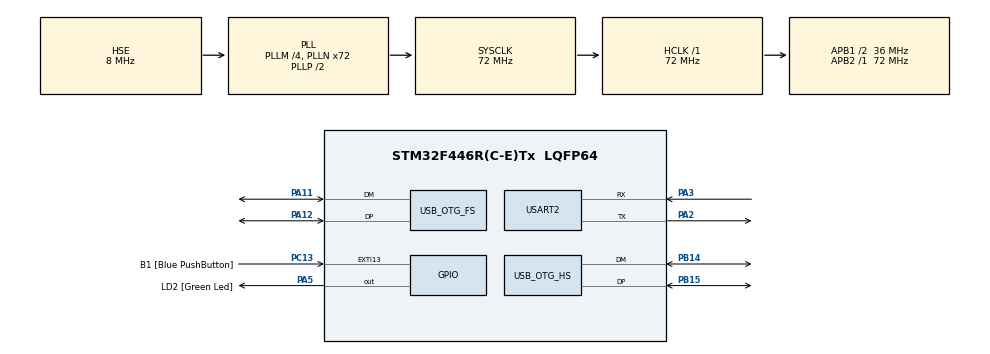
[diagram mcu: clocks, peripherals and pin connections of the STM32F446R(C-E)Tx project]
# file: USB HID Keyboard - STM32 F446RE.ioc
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Mcu.Family=STM32F4
Mcu.Name=STM32F446R(C-E)Tx
Mcu.Package=LQFP64
NVIC.EXTI15_10_IRQn=true\:0\:0\:false\:false\:true\:true\:true\:true
NVIC.OTG_FS_IRQn=true\:0\:0\:false\:false\:true\:false\:true\:true
NVIC.OTG_HS_IRQn=true\:0\:0\:false\:false\:true\:false\:true\:true
NVIC.PriorityGroup=NVIC_PRIORITYGROUP_0
PA11.Mode=Device_Only
PA11.Signal=USB_OTG_FS_DM
PA12.Mode=Device_Only
PA12.Signal=USB_OTG_FS_DP
PA13.GPIO_Label=TMS
PA13.Mode=Serial_Wire
PA13.Signal=SYS_JTMS-SWDIO
PA14.GPIO_Label=TCK
PA14.Mode=Serial_Wire
PA14.Signal=SYS_JTCK-SWCLK
PA2.Mode=Asynchronous
PA2.Signal=USART2_TX
PA3.Mode=Asynchronous
PA3.Signal=USART2_RX
PA5.GPIO_Label=LD2 [Green Led]
PA5.Signal=GPIO_Output
PB14.Mode=Host_FS
PB14.Signal=USB_OTG_HS_DM
PB15.Mode=Host_FS
PB15.Signal=USB_OTG_HS_DP
PB3.GPIO_Label=SWO
PB3.Signal=SYS_JTDO-SWO
PC13.GPIO_Label=B1 [Blue PushButton]
PC13.GPIO_ModeDefaultEXTI=GPIO_MODE_IT_FALLING
PC13.Signal=GPXTI13
PC14-OSC32_IN.Mode=LSE-External-Oscillator
PC14-OSC32_IN.Signal=RCC_OSC32_IN
PC15-OSC32_OUT.Mode=LSE-External-Oscillator
PC15-OSC32_OUT.Signal=RCC_OSC32_OUT
PH0-OSC_IN.Mode=HSE-External-Oscillator
PH0-OSC_IN.Signal=RCC_OSC_IN
PH1-OSC_OUT.Mode=HSE-External-Oscillator
PH1-OSC_OUT.Signal=RCC_OSC_OUT
ProjectManager.HeapSize=0x200
ProjectManager.StackSize=0x400
ProjectManager.TargetToolchain=STM32CubeIDE
RCC.48MHZClocksFreq_Value=84000000
RCC.AHBFreq_Value=72000000
RCC.APB1CLKDivider=RCC_HCLK_DIV2
RCC.APB1Freq_Value=36000000
RCC.APB1TimFreq_Value=72000000
RCC.APB2Freq_Value=72000000
RCC.APB2TimFreq_Value=72000000
RCC.CortexFreq_Value=72000000
RCC.FLatency-AdvancedSettings=FLASH_LATENCY_2
RCC.HCLKFreq_Value=72000000
RCC.HSE_VALUE=8000000
RCC.HSI_VALUE=16000000
RCC.PLLM=4
RCC.PLLN=72
RCC.PLLQ=3
RCC.PLLSourceVirtual=RCC_PLLSOURCE_HSE
RCC.SYSCLKFreq_VALUE=72000000
RCC.SYSCLKSource=RCC_SYSCLKSOURCE_PLLCLK
RCC.USBFreq_Value=48000000
RCC.VCOOutputFreq_Value=144000000
USART2.VirtualMode=VM_ASYNC
USB_DEVICE.CLASS_NAME_FS=HID
USB_DEVICE.VirtualMode-HID_FS=Hid
USB_DEVICE.VirtualModeFS=Hid_FS
USB_HOST.BSP.number=1
USB_HOST.USBH_HandleTypeDef-HID_HS=hUsbHostHS
USB_HOST.USBH_MAX_NUM_INTERFACES-HID_HS=2
USB_HOST.VirtualModeHS=Hid
USB_HOST0.BSP.STBoard=false
USB_HOST0.BSP.api=Unknown
USB_HOST0.BSP.instance=PA5
USB_HOST0.BSP.ip=GPIO
USB_HOST0.BSP.mode=Output
USB_HOST0.BSP.name=Drive_VBUS_HS
USB_HOST0.BSP.solution=PA5
USB_OTG_FS.VirtualMode=Device_Only
USB_OTG_HS.VirtualMode-Host_FS=Host_FS
VP_USB_DEVICE_VS_USB_DEVICE_HID_FS.Mode=HID_FS
VP_USB_HOST_VS_USB_HOST_HID_HS.Mode=HID_HS
board=NUCLEO-F446RE

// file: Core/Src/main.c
/* USER CODE BEGIN Header */
/**
 ******************************************************************************
 * @file           : main.c
 * @brief          : Main program body
 ******************************************************************************
 * @attention
 *
 * Copyright (c) 2023 STMicroelectronics.
 * All rights reserved.
 *
 * This software is licensed under terms that can be found in the LICENSE file
 * in the root directory of this software component.
 * If no LICENSE file comes with this software, it is provided AS-IS.
 *
 ******************************************************************************
 */
/* USER CODE END Header */
#include "main.h"
#include "usb_device.h"
#include "usb_host.h"

/* USER CODE BEGIN Includes */
#include "usbh_hid.h"
/* USER CODE END Includes */

/* USER CODE BEGIN PD */
#define KBD_LEFT_CTRL 0x01
#define KBD_LEFT_SHIFT 0x02
#define KBD_LEFT_ALT 0x04
#define KBD_LEFT_GUI 0x08
#define KBD_RIGHT_CTRL 0x10
#define KBD_RIGHT_SHIFT 0x20
#define KBD_RIGHT_ALT 0x40
#define KBD_RIGHT_GUI 0x80
/* USER CODE END PD */

UART_HandleTypeDef huart2;

/* USER CODE BEGIN PV */
extern USBD_HandleTypeDef hUsbDeviceFS;
char uart_buff[100];
uint8_t HID_Buffer[8] = {0x00, 0x00, 0x00, 0x00, 0x00, 0x00, 0x00, 0x00};
/* USER CODE END PV */

void SystemClock_Config(void);
static void MX_GPIO_Init(void);
static void MX_USART2_UART_Init(void);
void MX_USB_HOST_Process(void);

/* USER CODE BEGIN PFP */
void HAL_GPIO_EXTI_Callback(uint16_t GPIO_Pin);
void type_hello_world(void);
void send_key(uint8_t modifier, uint8_t key);
void emoji(char key);
/* USER CODE END PFP */

/* USER CODE BEGIN 0 */
void HAL_GPIO_EXTI_Callback(uint16_t GPIO_Pin)
{
	HAL_GPIO_TogglePin(LD2_GPIO_Port, LD2_Pin);
	int len = sprintf(uart_buff, "ISR callback.\r\n");
	HAL_UART_Transmit(&huart2, (uint8_t *)uart_buff, len, 100);
}

void USBH_HID_EventCallback(USBH_HandleTypeDef *phost)
{
	if (USBH_HID_GetDeviceType(phost) == HID_KEYBOARD) // if the HID is Keyboard
	{
		HID_KEYBD_Info_TypeDef *Keyboard_Info = USBH_HID_GetKeybdInfo(phost); // get the info
		uint8_t key = USBH_HID_GetASCIICode(Keyboard_Info);					  // get the key pressed
		int len = sprintf(uart_buff, "Key Pressed = %c\r\n", key);
		HAL_UART_Transmit(&huart2, (uint8_t *)uart_buff, len, 100);

		uint8_t modifier_keys = 0U;
		int lshift, rshift, lctrl, rctrl, lalt, ralt, lgui, rgui;
		if (Keyboard_Info->lshift == 1U)
		{
			modifier_keys |= KBD_LEFT_SHIFT;
			lshift = 1;
		}
		else
			lshift = 0;
		if (Keyboard_Info->rshift == 1U)
		{
			modifier_keys |= KBD_RIGHT_SHIFT;
			rshift = 1;
		}
		else
			rshift = 0;
		if (Keyboard_Info->lctrl == 1U)
		{
			modifier_keys |= KBD_LEFT_CTRL;
			lctrl = 1;
		}
		else
			lctrl = 0;
		if (Keyboard_Info->rctrl == 1U)
		{
			modifier_keys |= KBD_RIGHT_CTRL;
			rctrl = 1;
		}
		else
			rctrl = 0;
		if (Keyboard_Info->lalt == 1U)
		{
			modifier_keys |= KBD_LEFT_ALT;
			lalt = 1;
		}
		else
			lalt = 0;
		if (Keyboard_Info->ralt == 1U)
		{
			modifier_keys |= KBD_RIGHT_ALT;
			ralt = 1;
		}
		else
			ralt = 0;
		if (Keyboard_Info->lgui == 1U)
		{
			modifier_keys |= KBD_LEFT_GUI;
			lgui = 1;
		}
		else
			lgui = 0;
		if (Keyboard_Info->rgui == 1U)
		{
			modifier_keys |= KBD_RIGHT_GUI;
			rgui = 1;
		}
		else
			rgui = 0;
		if ((lctrl == 1 || rctrl == 1) && (lalt == 1 || ralt == 1) && ((key == 'h' || key == 'H') || (key == 'c' || key == 'C') || (key == 'q' || key == 'Q') ||  (key == 't' || key == 'T')))
		{
			if (key == 'h' || key == 'H')
				type_hello_world();
			else if ((key == 'c' || key == 'C'))
			{
				// char *command = "echo \"Hello World in command line!\"";
				// type_command(&command, 36);
			}
			else if ((key == 'q' || key == 'Q'))
			{
				emoji(key);
			}
			else if ((key == 't' || key == 'T'))
			{
				emoji(key);
			}
		}
		else
		{
			send_key(modifier_keys, Keyboard_Info->keys[0]);
		}
	}
}
void send_key(uint8_t modifier, uint8_t key)
{
	HID_Buffer[0] = modifier;
	HID_Buffer[2] = key;
	USBD_HID_SendReport(&hUsbDeviceFS, HID_Buffer, 8);
	HAL_Delay(100);

	// Release all keys
	HID_Buffer[0] = 0x00;
	HID_Buffer[2] = 0x00;
	USBD_HID_SendReport(&hUsbDeviceFS, HID_Buffer, 8);
	HAL_Delay(100);
}

void emoji(char key)
{
	send_key(0x08, 0x37);

	if (key == 'q')
	{
		send_key(0x00, 0x1a);
		send_key(0x00, 0x04);
		send_key(0x00, 0x19);
		send_key(0x00, 0x0c);
		send_key(0x00, 0x11);
		send_key(0x00, 0x0a);
		send_key(0x00, 0x2c);
		send_key(0x00, 0x0b);
		send_key(0x00, 0x04);
		send_key(0x00, 0x11);
		send_key(0x00, 0x07);
		HAL_Delay(100);
		send_key(0x00, 0x28);
		HAL_Delay(100);
		send_key(0x00, 0x29);
	}
	else if (key == 't')
	{
		send_key(0x00, 0x17);
		send_key(0x00, 0x0b);
		send_key(0x00, 0x18);
		send_key(0x00, 0x10);
		send_key(0x00, 0x05);
		send_key(0x00, 0x16);
		send_key(0x00, 0x2c);
		send_key(0x00, 0x18);
		send_key(0x00, 0x13);
		HAL_Delay(50);
		send_key(0x00, 0x28);
		HAL_Delay(50);
		send_key(0x00, 0x29);
	}

}

void type_hello_world(void)
{
	send_key(0x00, 0x0B);
	send_key(0x00, 0x08);
	send_key(0x00, 0x0f);
	send_key(0x00, 0x0f);
	send_key(0x00, 0x12);
	send_key(0x00, 0x2c);
	send_key(0x00, 0x1a);
	send_key(0x00, 0x12);
	send_key(0x00, 0x15);
	send_key(0x00, 0x0f);
	send_key(0x00, 0x07);
	send_key(0x00, 0x28);
}
/* USER CODE END 0 */

int main(void)
{

	/* MCU Configuration--------------------------------------------------------*/

	/* Reset of all peripherals, Initializes the Flash interface and the Systick. */
	HAL_Init();

	/* Configure the system clock */
	SystemClock_Config();

	/* Initialize all configured peripherals */
	MX_GPIO_Init();
	MX_USB_DEVICE_Init();
	MX_USB_HOST_Init();
	MX_USART2_UART_Init();

	/* Infinite loop */
	while (1)
	{
		MX_USB_HOST_Process();

		/* USER CODE BEGIN 3 */
		if (HAL_GPIO_ReadPin(B1_GPIO_Port, B1_Pin) == GPIO_PIN_RESET)
		{
			type_hello_world();
		}
	}
	/* USER CODE END 3 */
}

void SystemClock_Config(void)
{
	RCC_OscInitTypeDef RCC_OscInitStruct = {0};
	RCC_ClkInitTypeDef RCC_ClkInitStruct = {0};

	/** Configure the main internal regulator output voltage
	 */
	__HAL_RCC_PWR_CLK_ENABLE();
	__HAL_PWR_VOLTAGESCALING_CONFIG(PWR_REGULATOR_VOLTAGE_SCALE3);

	/** Initializes the RCC Oscillators according to the specified parameters
	 * in the RCC_OscInitTypeDef structure.
	 */
	RCC_OscInitStruct.OscillatorType = RCC_OSCILLATORTYPE_HSE;
	RCC_OscInitStruct.HSEState = RCC_HSE_ON;
	RCC_OscInitStruct.PLL.PLLState = RCC_PLL_ON;
	RCC_OscInitStruct.PLL.PLLSource = RCC_PLLSOURCE_HSE;
	RCC_OscInitStruct.PLL.PLLM = 4;
	RCC_OscInitStruct.PLL.PLLN = 72;
	RCC_OscInitStruct.PLL.PLLP = RCC_PLLP_DIV2;
	RCC_OscInitStruct.PLL.PLLQ = 3;
	RCC_OscInitStruct.PLL.PLLR = 2;
	if (HAL_RCC_OscConfig(&RCC_OscInitStruct) != HAL_OK)
	{
		Error_Handler();
	}

	/** Initializes the CPU, AHB and APB buses clocks
	 */
	RCC_ClkInitStruct.ClockType = RCC_CLOCKTYPE_HCLK | RCC_CLOCKTYPE_SYSCLK | RCC_CLOCKTYPE_PCLK1 | RCC_CLOCKTYPE_PCLK2;
	RCC_ClkInitStruct.SYSCLKSource = RCC_SYSCLKSOURCE_PLLCLK;
	RCC_ClkInitStruct.AHBCLKDivider = RCC_SYSCLK_DIV1;
	RCC_ClkInitStruct.APB1CLKDivider = RCC_HCLK_DIV2;
	RCC_ClkInitStruct.APB2CLKDivider = RCC_HCLK_DIV1;

	if (HAL_RCC_ClockConfig(&RCC_ClkInitStruct, FLASH_LATENCY_2) != HAL_OK)
	{
		Error_Handler();
	}
}

static void MX_USART2_UART_Init(void)
{

	huart2.Instance = USART2;
	huart2.Init.BaudRate = 115200;
	huart2.Init.WordLength = UART_WORDLENGTH_8B;
	huart2.Init.StopBits = UART_STOPBITS_1;
	huart2.Init.Parity = UART_PARITY_NONE;
	huart2.Init.Mode = UART_MODE_TX_RX;
	huart2.Init.HwFlowCtl = UART_HWCONTROL_NONE;
	huart2.Init.OverSampling = UART_OVERSAMPLING_16;
	if (HAL_UART_Init(&huart2) != HAL_OK)
	{
		Error_Handler();
	}
}

static void MX_GPIO_Init(void)
{
	GPIO_InitTypeDef GPIO_InitStruct = {0};

	/* GPIO Ports Clock Enable */
	__HAL_RCC_GPIOC_CLK_ENABLE();
	__HAL_RCC_GPIOH_CLK_ENABLE();
	__HAL_RCC_GPIOA_CLK_ENABLE();
	__HAL_RCC_GPIOB_CLK_ENABLE();

	/*Configure GPIO pin Output Level */
	HAL_GPIO_WritePin(LD2_GPIO_Port, LD2_Pin, GPIO_PIN_RESET);

	/*Configure GPIO pin : B1_Pin */
	GPIO_InitStruct.Pin = B1_Pin;
	GPIO_InitStruct.Mode = GPIO_MODE_IT_FALLING;
	GPIO_InitStruct.Pull = GPIO_NOPULL;
	HAL_GPIO_Init(B1_GPIO_Port, &GPIO_InitStruct);

	/*Configure GPIO pin : LD2_Pin */
	GPIO_InitStruct.Pin = LD2_Pin;
	GPIO_InitStruct.Mode = GPIO_MODE_OUTPUT_PP;
	GPIO_InitStruct.Pull = GPIO_NOPULL;
	GPIO_InitStruct.Speed = GPIO_SPEED_FREQ_LOW;
	HAL_GPIO_Init(LD2_GPIO_Port, &GPIO_InitStruct);

	/* EXTI interrupt init*/
	HAL_NVIC_SetPriority(EXTI15_10_IRQn, 0, 0);
	HAL_NVIC_EnableIRQ(EXTI15_10_IRQn);

}

void Error_Handler(void)
{
	__disable_irq();
	while (1)
	{
	}
}
